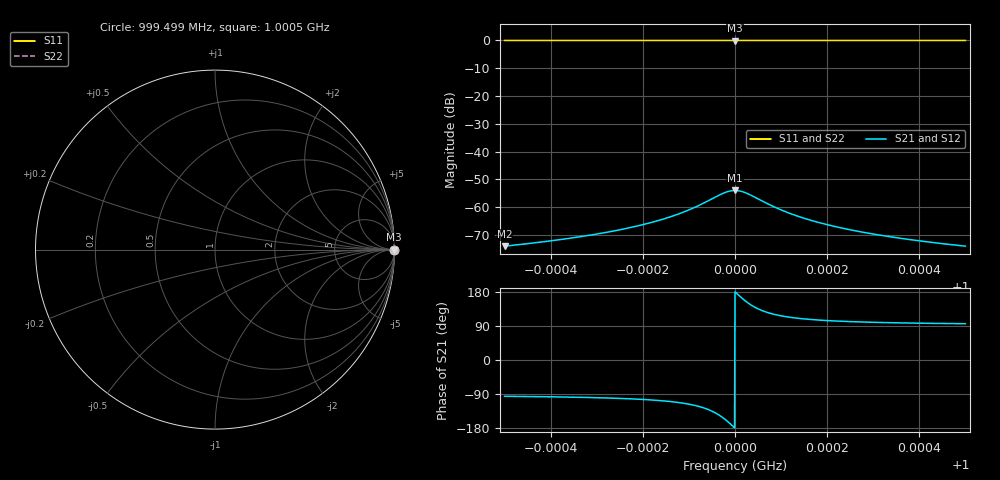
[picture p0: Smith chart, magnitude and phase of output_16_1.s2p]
! File generated for n1 = 16, n2 = 1
! b1 = 0.001000
! b2 = 0.001000
! Q0 = 10000.000000
! f0 = 1000000000.000000
! n = 1001
! rel_span = 10.000000
# Hz S RI R 50
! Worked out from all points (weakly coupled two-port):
!   1001 points, 999.499 MHz to 1.0005 GHz, reference 50 ohm
!   highest |S21| = -54.00 dB at 1 GHz (marker M1); lowest = -74.0 dB at 999.499 MHz (marker M2)
!   lowest |S11| = 0.0 dB at 1 GHz (marker M3)
!   |S11| at or under -10 dB: nowhere
!   |S22| runs from 0.0 to 0.0 dB; largest |S21 - S12| = 0
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9.99499e8  1 -0.000198  -1.98e-05 -0.000198  -1.98e-05 -0.000198  1 -0.000198
9.995852e8  1 -0.000238  -2.87e-05 -0.000238  -2.87e-05 -0.000238  1 -0.000238
9.996663e8  1 -0.000293  -4.4e-05 -0.000293  -4.4e-05 -0.000293  1 -0.000293
9.997585e8  0.9999 -0.000397  -8.24e-05 -0.000397  -8.24e-05 -0.000397  0.9999 -0.000397
9.997976e8  0.9999 -0.000465  -0.000115 -0.000465  -0.000115 -0.000465  0.9999 -0.000465
9.998337e8  0.9998 -0.000551  -0.000166 -0.000551  -0.000166 -0.000551  0.9998 -0.000551
9.998687e8  0.9997 -0.000665  -0.000254 -0.000665  -0.000254 -0.000665  0.9997 -0.000665
9.998998e8  0.9996 -0.000798  -0.000399 -0.000798  -0.000399 -0.000798  0.9996 -0.000798
9.999238e8  0.9994 -0.000916  -0.000603 -0.000916  -0.000603 -0.000916  0.9994 -0.000916
9.99977e8  0.9984 -0.000758  -0.00165 -0.000758  -0.00165 -0.000758  0.9984 -0.000758
9.99989e8  0.9981 -0.000419  -0.0019 -0.000419  -0.0019 -0.000419  0.9981 -0.000419
1e9  0.998 0  -0.002 0  -0.002 0  0.998 0
1.000011e9  0.9981 0.000419  -0.0019 0.000419  -0.0019 0.000419  0.9981 0.000419
1.000023e9  0.9984 0.000758  -0.00165 0.000758  -0.00165 0.000758  0.9984 0.000758
1.000076e9  0.9994 0.000916  -0.000603 0.000916  -0.000603 0.000916  0.9994 0.000916
1.0001e9  0.9996 0.000798  -0.000399 0.000798  -0.000399 0.000798  0.9996 0.000798
1.000132e9  0.9997 0.000661  -0.00025 0.000661  -0.00025 0.000661  0.9997 0.000661
1.000167e9  0.9998 0.000548  -0.000164 0.000548  -0.000164 0.000548  0.9998 0.000548
1.000242e9  0.9999 0.000396  -8.17e-05 0.000396  -8.17e-05 0.000396  0.9999 0.000396
1.000335e9  1 0.000292  -4.38e-05 0.000292  -4.38e-05 0.000292  1 0.000292
1.000416e9  1 0.000237  -2.86e-05 0.000237  -2.86e-05 0.000237  1 0.000237
1.000501e9  1 0.000198  -1.98e-05 0.000198  -1.98e-05 0.000198  1 0.000198
